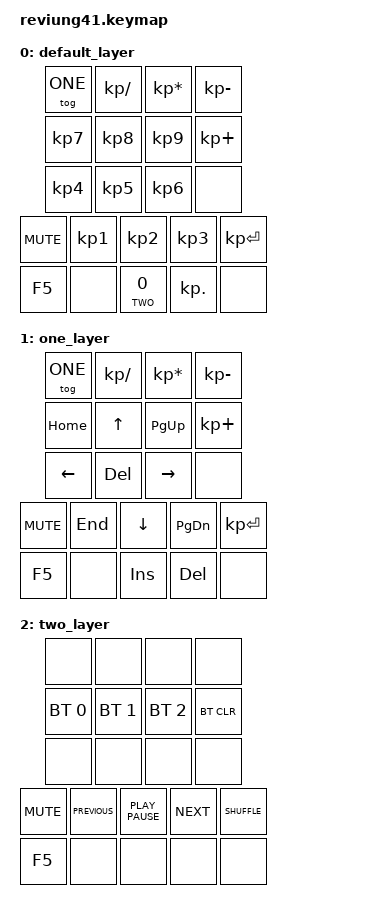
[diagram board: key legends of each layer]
#include <behaviors.dtsi>
#include <dt-bindings/zmk/keys.h>
#include <dt-bindings/zmk/bt.h>
#include <dt-bindings/zmk/ext_power.h>

#define DEFAULT 0
#define ONE 1
#define TWO 2

/ {
	//Default Encoder Behavior
	sensor-bindings = <&inc_dec_kp C_VOL_UP C_VOL_DN &inc_dec_kp K_SCROLL_UP K_SCROLL_DOWN>;



	keymap {
		compatible = "zmk,keymap";
		
		default_layer {
			bindings = <
						&tog ONE		&kp KP_SLASH		&kp KP_ASTERISK		&kp KP_MINUS
						&kp KP_NUMBER_7 	&kp KP_NUMBER_8 	&kp KP_NUMBER_9		&kp KP_PLUS
						&kp KP_NUMBER_4 	&kp KP_NUMBER_5 	&kp KP_NUMBER_6 	&none
				&kp K_MUTE	&kp KP_NUMBER_1 	&kp KP_NUMBER_2 	&kp KP_NUMBER_3 	&kp KP_ENTER
				&kp F5		&none  			&lt TWO NUMBER_0	&kp KP_DOT      	&none
			>;
		};

		 one_layer {
			 bindings = <
						&tog ONE		&kp KP_SLASH		&kp KP_ASTERISK 	&kp KP_MINUS
						&kp HOME    		&kp UP    		&kp PG_UP    		&kp KP_PLUS
						&kp LEFT    		&kp DEL     		&kp RIGHT      		&none
				&kp K_MUTE	&kp END    		&kp DOWN    		&kp PG_DN    		&kp KP_ENTER
				&kp F5		&none			&kp INS     		&kp DEL			&none
			 >;
		 };

		 two_layer {
			 bindings = <
						&none			&none 			&none 		 	&none
						&bt BT_SEL 0   		&bt BT_SEL 1   		&bt BT_SEL 2    	&bt BT_CLR
						&none			&none      		&none 			&none
				&kp K_MUTE	&kp K_PREVIOUS   	&kp K_PLAY_PAUSE    	&kp K_NEXT       	&kp C_SHUFFLE
				&kp F5		&none			&none      		&none 			&none
			 >;
		 };
	};
};
